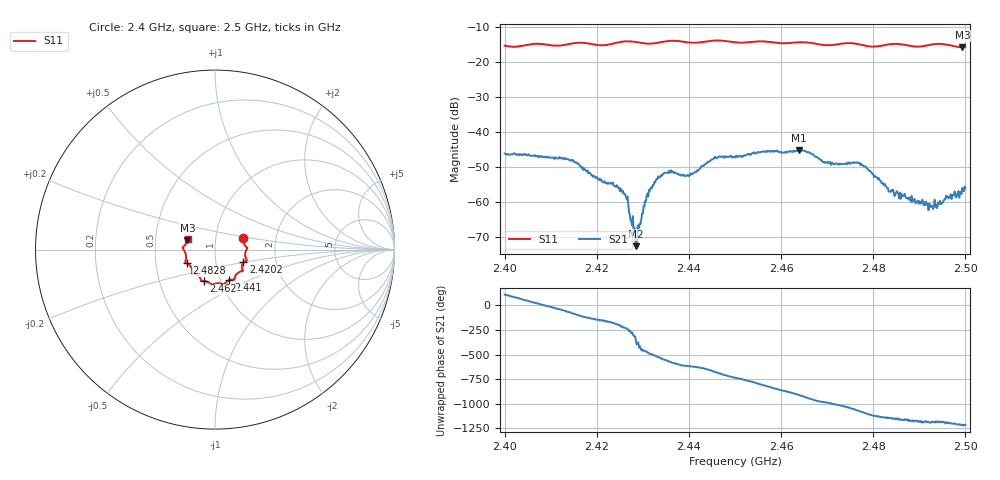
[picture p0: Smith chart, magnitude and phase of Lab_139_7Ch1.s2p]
# Hz S RI R 50
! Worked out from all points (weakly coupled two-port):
!   601 points, 2.4 GHz to 2.5 GHz, reference 50 ohm
!   highest |S21| = -45.13 dB at 2.4638 GHz (marker M1); lowest = -72.5 dB at 2.4285 GHz (marker M2)
!   lowest |S11| = -15.8 dB at 2.4993 GHz (marker M3), VSWR 1.39, Z = 36.5 + j3.84 ohm
!   |S11| at or under -10 dB: start of sweep to end of sweep
!   S12 and S22 are empty: the file has one direction only
!   S11 on the Smith chart (normalised r, x): 2.4 GHz: 1.36, +0.17; 2.4202 GHz: 1.36, -0.20; 2.441 GHz: 1.10, -0.39; 2.462 GHz: 0.83, -0.30; 2.4828 GHz: 0.72, -0.11; 2.5 GHz: 0.73, +0.09
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2.4e9  0.1582 0.0623  -0.00174 0.0046  0 0  0 0
2.413167e9  0.1699 -0.042  0.0024 -0.00353  0 0  0 0
2.416667e9  0.1773 -0.0607  -0.00104 -0.00293  0 0  0 0
2.420167e9  0.1583 -0.071  -0.00178 -0.00128  0 0  0 0
2.426167e9  0.1565 -0.1182  -0.000849 0.000959  0 0  0 0
2.4285e9  0.1495 -0.1203  0.000235 2.22e-05  0 0  0 0
2.431e9  0.1268 -0.1304  -0.000557 -0.0012  0 0  0 0
2.433333e9  0.1115 -0.1511  -0.00229 -0.000479  0 0  0 0
2.436e9  0.1091 -0.1668  -0.00219 0.0015  0 0  0 0
2.441e9  0.0785 -0.1699  -0.000284 0.0026  0 0  0 0
2.445333e9  0.0514 -0.1942  0.00263 0.00326  0 0  0 0
2.45e9  0.0282 -0.1874  0.00416 -0.00117  0 0  0 0
2.462e9  -0.0609 -0.1755  -0.00521 -0.00136  0 0  0 0
2.463833e9  -0.0732 -0.1755  -0.00547 0.000897  0 0  0 0
2.466667e9  -0.0786 -0.168  -0.00288 0.00398  0 0  0 0
2.4695e9  -0.0912 -0.147  -0.000304 0.00371  0 0  0 0
2.477e9  -0.127 -0.1241  0.00363 0.000377  0 0  0 0
2.482833e9  -0.1574 -0.0765  0.000862 -0.00143  0 0  0 0
2.483333e9  -0.1606 -0.0752  0.00067 -0.00126  0 0  0 0
2.4925e9  -0.1758 0.0022  -0.000335 -0.00079  0 0  0 0
2.499333e9  -0.1538 0.0513  -0.00113 -0.00113  0 0  0 0
2.5e9  -0.1519 0.061  -0.00111 -0.00115  0 0  0 0
